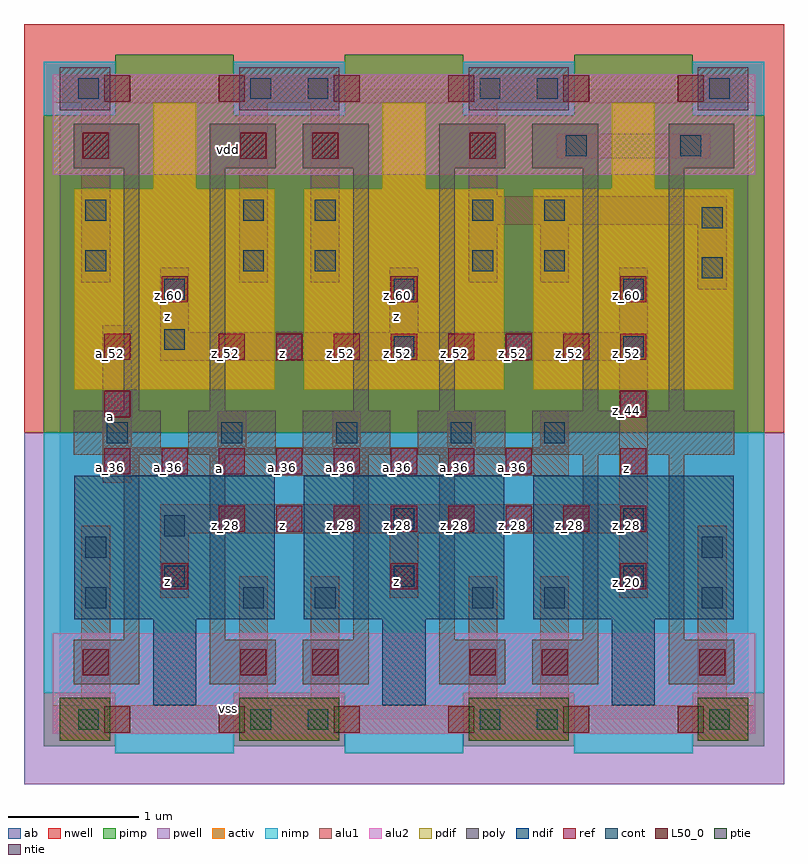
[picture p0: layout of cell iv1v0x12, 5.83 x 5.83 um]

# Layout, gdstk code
import gdstk
lib = gdstk.Library(unit=1e-6, precision=2.5e-09)
def R(c, l, rs):  # rectangles x0, y0, x1, y1
    for r in rs: c.add(gdstk.rectangle(r[:2], r[2:], *l))
def A(c, l, x, y, w, h, nx, ny, dx, dy):  # array of equal rectangles
    R(c, l, [(x+i*dx, y+j*dy, x+i*dx+w, y+j*dy+h) for i in range(nx) for j in range(ny)])
ndif = (3, 0)
pdif = (4, 0)
ntie = (5, 0)
ptie = (6, 0)
ref = (24, 0)
cont = (25, 0)
pwell = (41, 0)
nwell = (42, 0)
activ = (43, 0)
pimp = (44, 0)
nimp = (45, 0)
poly = (46, 0)
alu1 = (49, 0)
L50_0 = (50, 0)
alu2 = (51, 0)
ab = (63, 0)

iv1v0x12 = lib.new_cell('iv1v0x12')
A(iv1v0x12, ndif, 0.715, 0.11, 0.33, 0.66, 3, 1, 1.76, 0)
A(iv1v0x12, ndif, 0.11, 0.77, 1.54, 1.1, 3, 1, 1.76, 0)
A(iv1v0x12, pdif, 0.11, 2.53, 1.54, 1.54, 3, 1, 1.76, 0)
A(iv1v0x12, pdif, 0.715, 4.07, 0.33, 0.66, 3, 1, 1.76, 0)
R(iv1v0x12, ntie, [(0,4.675,0.385,5.005), (1.375,4.675,2.145,5.005), (3.135,4.675,3.905,5.005), (4.895,4.675,5.28,5.005)])
R(iv1v0x12, ptie, [(0,-0.165,0.385,0.165), (1.375,-0.165,2.145,0.165), (3.135,-0.165,3.905,0.165), (4.895,-0.165,5.28,0.165)])
A(iv1v0x12, ref, 0.78, 1, 0.2, 0.2, 3, 2, 1.76, 2.2)
A(iv1v0x12, ref, 1.22, 1.44, 0.2, 0.2, 8, 2, 0.44, 1.32)
A(iv1v0x12, ref, 0.34, 1.88, 0.2, 0.2, 8, 1, 0.44, 0)
R(iv1v0x12, ref, [(4.3,1.88,4.5,2.08), (0.34,2.32,0.54,2.52), (4.3,2.32,4.5,2.52), (0.34,2.76,0.54,2.96)])
A(iv1v0x12, cont, 0.8, 1.02, 0.16, 0.16, 3, 2, 1.76, 2.2)
A(iv1v0x12, cont, 0.36, 2.12, 0.16, 0.16, 4, 1, 0.88, 0)
R(iv1v0x12, cont, [(0.14,-0.08,0.3,0.08), (1.46,-0.08,1.62,0.08), (1.9,-0.08,2.06,0.08), (3.22,-0.08,3.38,0.08), (3.66,-0.08,3.82,0.08), (4.98,-0.08,5.14,0.08), (0.195,0.855,0.355,1.015), (1.405,0.855,1.565,1.015), (1.955,0.855,2.115,1.015), (3.165,0.855,3.325,1.015), (3.715,0.855,3.875,1.015), (4.925,0.855,5.085,1.015), (0.195,1.24,0.355,1.4), (4.925,1.24,5.085,1.4), (0.8,1.405,0.96,1.565), (2.56,1.46,2.72,1.62), (4.32,1.46,4.48,1.62), (3.715,2.12,3.875,2.28), (2.56,2.78,2.72,2.94), (4.32,2.78,4.48,2.94), (0.8,2.835,0.96,2.995), (4.925,3.385,5.085,3.545), (0.195,3.44,0.355,3.6), (1.405,3.44,1.565,3.6), (1.955,3.44,2.115,3.6), (3.165,3.44,3.325,3.6), (3.715,3.44,3.875,3.6), (4.925,3.77,5.085,3.93), (0.195,3.825,0.355,3.985), (1.405,3.825,1.565,3.985), (1.955,3.825,2.115,3.985), (3.165,3.825,3.325,3.985), (3.715,3.825,3.875,3.985), (3.88,4.32,4.04,4.48), (4.76,4.32,4.92,4.48), (0.14,4.76,0.3,4.92), (1.46,4.76,1.62,4.92), (1.9,4.76,2.06,4.92), (3.22,4.76,3.38,4.92), (3.66,4.76,3.82,4.92), (4.98,4.76,5.14,4.92)])
R(iv1v0x12, pwell, [(-0.275,-0.495,5.555,2.2)])
R(iv1v0x12, nwell, [(-0.275,2.2,5.555,5.335)])
A(iv1v0x12, activ, 0.715, 0.11, 0.33, 0.66, 3, 2, 1.76, 3.96)
A(iv1v0x12, activ, 0.11, 0.77, 1.54, 1.1, 3, 1, 1.76, 0)
A(iv1v0x12, activ, 0.11, 2.53, 1.54, 1.54, 3, 1, 1.76, 0)
R(iv1v0x12, activ, [(0,-0.165,0.385,0.165), (1.375,-0.165,2.145,0.165), (3.135,-0.165,3.905,0.165), (4.895,-0.165,5.28,0.165), (0,4.675,0.385,5.005), (1.375,4.675,2.145,5.005), (3.135,4.675,3.905,5.005), (4.895,4.675,5.28,5.005)])
A(iv1v0x12, pimp, 0.425, 4.635, 0.91, 0.465, 3, 1, 1.76, 0)
R(iv1v0x12, pimp, [(-0.125,-0.205,0.425,0.205), (1.335,-0.205,2.185,0.205), (3.095,-0.205,3.945,0.205), (4.855,-0.205,5.405,0.205), (-0.125,2.2,5.405,4.635)])
A(iv1v0x12, nimp, 0.425, -0.26, 0.91, 0.465, 3, 1, 1.76, 0)
R(iv1v0x12, nimp, [(-0.125,0.205,5.405,2.2), (-0.125,4.635,0.425,5.045), (1.335,4.635,2.185,5.045), (3.095,4.635,3.945,5.045), (4.855,4.635,5.405,5.045)])
A(iv1v0x12, poly, 0.105, 2.03, 0.67, 0.34, 6, 1, 0.88, 0)
R(iv1v0x12, poly, [(0.105,0.27,0.61,0.61), (1.15,0.27,1.655,0.61), (1.865,0.27,2.37,0.61), (2.91,0.27,3.415,0.61), (3.625,0.27,4.13,0.61), (4.67,0.27,5.175,0.61), (0.49,0.61,0.61,2.03), (1.15,0.61,1.27,2.03), (2.25,0.61,2.37,2.03), (2.91,0.61,3.03,2.03), (4.01,0.61,4.13,2.03), (4.67,0.61,4.79,2.03), (0.49,2.37,0.61,4.23), (1.15,2.37,1.27,4.23), (2.25,2.37,2.37,4.23), (2.91,2.37,3.03,4.23), (4.01,2.37,4.13,4.23), (4.67,2.37,4.79,4.23), (0.105,4.23,0.61,4.57), (1.15,4.23,1.655,4.57), (1.865,4.23,2.37,4.57), (2.91,4.23,3.415,4.57), (3.625,4.23,4.13,4.57), (4.67,4.23,5.175,4.57)])
A(iv1v0x12, alu1, 0.77, 0.935, 0.22, 0.495, 3, 2, 1.76, 2.035)
A(iv1v0x12, alu1, 1.21, 2.09, 0.22, 0.275, 3, 1, 0.88, 0)
R(iv1v0x12, alu1, [(-0.055,-0.11,5.335,0.11), (0.165,0.11,0.385,1.485), (1.375,0.11,1.595,1.1), (1.925,0.11,2.145,1.1), (3.135,0.11,3.355,1.1), (3.685,0.11,3.905,1.1), (4.895,0.11,5.115,1.485), (0.77,1.43,4.51,1.65), (4.29,1.65,4.51,2.75), (0.33,1.815,0.55,1.87), (0.33,1.87,3.905,2.09), (0.33,2.09,0.55,3.025), (3.685,2.09,3.905,2.365), (0.77,2.75,4.51,2.97), (4.895,3.3,5.115,3.795), (0.165,3.355,0.385,4.73), (1.375,3.355,1.595,4.73), (1.925,3.355,2.145,4.73), (3.135,3.355,3.355,3.795), (3.685,3.355,3.905,3.795), (3.135,3.795,5.115,4.015), (3.135,4.015,3.355,4.73), (3.81,4.305,4.99,4.495), (-0.055,4.73,5.335,4.95)])
A(iv1v0x12, L50_0, 0.34, -0.1, 0.2, 0.2, 6, 2, 0.88, 4.84)
R(iv1v0x12, L50_0, [(0.175,0.34,0.375,0.54), (1.385,0.34,1.585,0.54), (1.935,0.34,2.135,0.54), (3.145,0.34,3.345,0.54), (3.695,0.34,3.895,0.54), (4.905,0.34,5.105,0.54), (0.175,4.3,0.375,4.5), (1.385,4.3,1.585,4.5), (1.935,4.3,2.135,4.5), (3.145,4.3,3.345,4.5)])
R(iv1v0x12, alu2, [(-0.055,-0.11,5.335,0.66), (-0.055,4.18,5.335,4.95)])
R(iv1v0x12, ab, [(0,0,5.28,4.84)])
iv1v0x12.add(gdstk.Label('z', (2.585,1.0575), layer=49, texttype=0))
iv1v0x12.add(gdstk.Label('z', (0.825,1.0575), layer=49, texttype=0))
iv1v0x12.add(gdstk.Label('z', (1.705,1.485), layer=49, texttype=0))
iv1v0x12.add(gdstk.Label('z', (4.345,1.925), layer=49, texttype=0))
iv1v0x12.add(gdstk.Label('a', (1.2225,1.925), layer=49, texttype=0))
iv1v0x12.add(gdstk.Label('z', (1.705,2.805), layer=49, texttype=0))
iv1v0x12.add(gdstk.Label('z', (2.585,3.0925), layer=49, texttype=0))
iv1v0x12.add(gdstk.Label('z', (0.825,3.0925), layer=49, texttype=0))
iv1v0x12.add(gdstk.Label('a', (0.385,2.3225), layer=49, texttype=0))
iv1v0x12.add(gdstk.Label('vss', (1.2925,0.0825), layer=51, texttype=0))
iv1v0x12.add(gdstk.Label('vdd', (1.2925,4.3725), layer=51, texttype=0))
iv1v0x12.add(gdstk.Label('a_36', (0.39,1.93), layer=24, texttype=0))
iv1v0x12.add(gdstk.Label('a_44', (0.39,2.37), layer=24, texttype=0))
iv1v0x12.add(gdstk.Label('a_52', (0.39,2.81), layer=24, texttype=0))
iv1v0x12.add(gdstk.Label('z_20', (0.83,1.05), layer=24, texttype=0))
iv1v0x12.add(gdstk.Label('z_52', (1.27,2.81), layer=24, texttype=0))
iv1v0x12.add(gdstk.Label('z_28', (1.27,1.49), layer=24, texttype=0))
iv1v0x12.add(gdstk.Label('z_60', (0.83,3.25), layer=24, texttype=0))
iv1v0x12.add(gdstk.Label('z_60', (2.59,3.25), layer=24, texttype=0))
iv1v0x12.add(gdstk.Label('z_20', (2.59,1.05), layer=24, texttype=0))
iv1v0x12.add(gdstk.Label('z_52', (2.15,2.81), layer=24, texttype=0))
iv1v0x12.add(gdstk.Label('z_28', (2.15,1.49), layer=24, texttype=0))
iv1v0x12.add(gdstk.Label('z_28', (1.71,1.49), layer=24, texttype=0))
iv1v0x12.add(gdstk.Label('z_52', (1.71,2.81), layer=24, texttype=0))
iv1v0x12.add(gdstk.Label('z_52', (2.59,2.81), layer=24, texttype=0))
iv1v0x12.add(gdstk.Label('z_28', (2.59,1.49), layer=24, texttype=0))
iv1v0x12.add(gdstk.Label('a_36', (0.83,1.93), layer=24, texttype=0))
iv1v0x12.add(gdstk.Label('a_36', (1.27,1.93), layer=24, texttype=0))
iv1v0x12.add(gdstk.Label('a_36', (1.71,1.93), layer=24, texttype=0))
iv1v0x12.add(gdstk.Label('z_44', (4.35,2.37), layer=24, texttype=0))
iv1v0x12.add(gdstk.Label('z_60', (4.35,3.25), layer=24, texttype=0))
iv1v0x12.add(gdstk.Label('z_20', (4.35,1.05), layer=24, texttype=0))
iv1v0x12.add(gdstk.Label('z_36', (4.35,1.93), layer=24, texttype=0))
iv1v0x12.add(gdstk.Label('a_36', (2.15,1.93), layer=24, texttype=0))
iv1v0x12.add(gdstk.Label('a_36', (2.59,1.93), layer=24, texttype=0))
iv1v0x12.add(gdstk.Label('a_36', (3.03,1.93), layer=24, texttype=0))
iv1v0x12.add(gdstk.Label('a_36', (3.47,1.93), layer=24, texttype=0))
iv1v0x12.add(gdstk.Label('z_28', (3.03,1.49), layer=24, texttype=0))
iv1v0x12.add(gdstk.Label('z_28', (3.47,1.49), layer=24, texttype=0))
iv1v0x12.add(gdstk.Label('z_28', (3.91,1.49), layer=24, texttype=0))
iv1v0x12.add(gdstk.Label('z_28', (4.35,1.49), layer=24, texttype=0))
iv1v0x12.add(gdstk.Label('z_52', (3.03,2.81), layer=24, texttype=0))
iv1v0x12.add(gdstk.Label('z_52', (3.47,2.81), layer=24, texttype=0))
iv1v0x12.add(gdstk.Label('z_52', (3.91,2.81), layer=24, texttype=0))
iv1v0x12.add(gdstk.Label('z_52', (4.35,2.81), layer=24, texttype=0))

lib.write_gds('iv1v0x12.gds')
